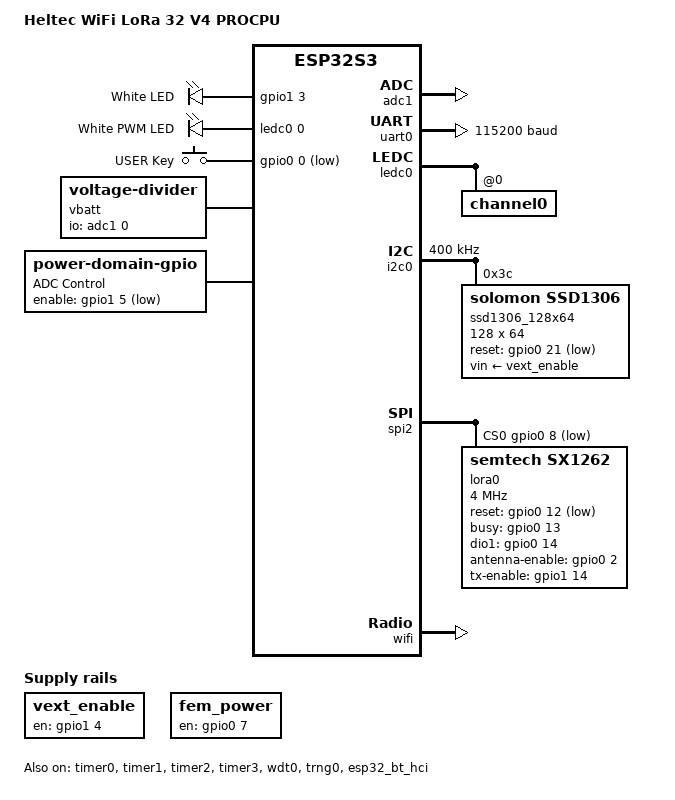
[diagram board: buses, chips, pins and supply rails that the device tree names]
/*
 * SPDX-License-Identifier: Apache-2.0
 * Heltec WiFi LoRa 32 V4 — ZephCore procpu DTS
 *
 * Hardware:
 *   MCU:    ESP32-S3 (16 MB flash, 2 MB QSPI PSRAM)
 *   Radio:  SX1262 on SPI2, GC1109 external PA/FEM (V4.2)
 *   OLED:   SSD1306 128x64 on I2C0
 *   Button: GPIO0
 *   LED:    GPIO35 (PWM via LEDC0)
 *   Vext:   GPIO36 active-HIGH (powers OLED and sensors)
 *   BatADC: GPIO1 (ADC1 ch0), enable GPIO37 active-LOW
 *
 * V4.2 (this file) — GC1109 PA, TX_EN on GPIO46.
 * V4.3 (KCT8103L PA, CTX on GPIO5) → see heltec_wifi_lora32_v43.
 *
 * Key V4 differences vs V3:
 *   - 16 MB flash + 2 MB QSPI PSRAM  (was 8 MB, no PSRAM)
 *   - External PA/FEM (GC1109):
 *       GPIO7  = VFEM_Ctrl LDO power (active-HIGH, always-on)
 *       GPIO2  = GC1109 CSD (chip enable, active-HIGH)
 *       GPIO46 = GC1109 CPS (TX mode select, active-HIGH)
 *   - Vext control is active-HIGH    (was active-LOW on V3)
 *   - DIO2 used as RF switch alongside external FEM TX control
 *
 * LoRa SPI2:  SCLK=9, MOSI=10, MISO=11, NSS=8
 * LoRa ctrl:  DIO1=14, BUSY=13, RESET=12
 * FEM:        POWER=7, CSD=2, CPS=46
 * Display I2C0: SDA=17, SCL=18, RST=21
 */

/dts-v1/;

#include <espressif/esp32s3/esp32s3_wroom_n16r2.dtsi>
#include "heltec_wifi_lora32_v4-pinctrl.dtsi"
#include <zephyr/dt-bindings/pwm/pwm.h>
#include <zephyr/dt-bindings/input/input-event-codes.h>
#include <zephyr/dt-bindings/lora/sx126x.h>
#include <espressif/partitions_0x0_amp_16M.dtsi>

/ {
	model = "Heltec WiFi LoRa 32 V4 PROCPU";
	compatible = "heltec,wifi-lora32-v4";

	aliases {
		led0 = &led0;
		pwm-0 = &ledc0;
		pwm-led0 = &pwm_led_white;
		uart-0 = &uart0;
		i2c-0 = &i2c0;
		lora0 = &lora0;
		sw0 = &button0;
		watchdog0 = &wdt0;
	};

	leds {
		compatible = "gpio-leds";
		led0: led {
			gpios = <&gpio1 3 GPIO_ACTIVE_HIGH>;  /* GPIO35 = gpio1 pin 3 */
			label = "White LED";
		};
	};

	pwmleds {
		compatible = "pwm-leds";
		pwm_led_white: pwm_led_gpio35 {
			label = "White PWM LED";
			pwms = <&ledc0 0 PWM_MSEC(10) PWM_POLARITY_NORMAL>;
		};
	};

	buttons: buttons {
		compatible = "gpio-keys";
		button0: button_0 {
			gpios = <&gpio0 0 (GPIO_PULL_UP | GPIO_ACTIVE_LOW)>;
			label = "USER Key";
			zephyr,code = <INPUT_KEY_0>;
		};
	};

	vbatt {
		compatible = "voltage-divider";
		io-channels = <&adc1 0>;  /* GPIO1 = ADC1 ch0 */
		output-ohms = <100000>;
		full-ohms = <(100000 + 390000)>;
	};

	/* Vext — powers OLED and external peripherals (active-HIGH on GPIO36).
	 * regulator-fixed + SSD1306 vin-supply: powers rail at boot without relying on
	 * power-domains (CONFIG_PM_DEVICE is disabled in prj.conf). */
	vext_enable: vext-enable {
		compatible = "regulator-fixed";
		regulator-name = "vext";
		enable-gpios = <&gpio1 4 GPIO_ACTIVE_HIGH>;  /* GPIO36 = gpio1 pin 4 */
		regulator-boot-on;
		regulator-always-on;
	};

	/* ADC enable — GPIO37 (gpio1 pin 5) must be driven HIGH to read battery.
	 * ZephCore uses the vbat_enable regulator alias for this. */
	adc_ctrl: adc_ctrl {
		compatible = "power-domain-gpio";
		enable-gpios = <&gpio1 5 GPIO_ACTIVE_LOW>;   /* GPIO37 = gpio1 pin 5, active-LOW */
		#power-domain-cells = <0>;
		label = "ADC Control";
	};

	/* FEM LDO power supply — GPIO7 powers the GC1109/KCT8103L LDO.
	 * Must be HIGH before any radio operation. Keep always-on. */
	fem_power: fem-power {
		compatible = "regulator-fixed";
		regulator-name = "fem-power";
		enable-gpios = <&gpio0 7 GPIO_ACTIVE_HIGH>;  /* VFEM_Ctrl = GPIO7 */
		regulator-boot-on;
		regulator-always-on;
	};

	chosen {
		zephyr,sram = &sram1;
		zephyr,console = &uart0;
		zephyr,shell-uart = &uart0;
		zephyr,flash = &flash0;
		zephyr,code-partition = &slot0_partition;
		zephyr,bt-hci = &esp32_bt_hci;
		zephyr,display = &ssd1306_128x64;
	};
};

&adc1 {
	status = "okay";
};

&uart0 {
	status = "okay";
	current-speed = <115200>;
	pinctrl-0 = <&uart0_default>;
	pinctrl-names = "default";
};

&gpio0 {
	status = "okay";
};

&gpio1 {
	status = "okay";
};

/* Reduce CPU clock from 240 MHz to 160 MHz — saves power, HAL minimum */
&cpu0 {
	clock-frequency = <DT_FREQ_M(160)>;
};

&cpu1 {
	clock-frequency = <DT_FREQ_M(160)>;
};

&ledc0 {
	pinctrl-0 = <&ledc0_default>;
	pinctrl-names = "default";
	status = "okay";
	#address-cells = <1>;
	#size-cells = <0>;

	channel0@0 {
		reg = <0x0>;
		timer = <0>;
	};
};

&i2c0 {
	status = "okay";
	clock-frequency = <I2C_BITRATE_FAST>;
	pinctrl-0 = <&i2c0_default>;
	pinctrl-names = "default";

	ssd1306_128x64: display-controller@3c {
		compatible = "solomon,ssd1306";
		reg = <0x3c>;
		width = <128>;
		height = <64>;
		segment-offset = <0>;
		page-offset = <0>;
		display-offset = <0>;
		multiplex-ratio = <63>;
		segment-remap;
		com-invdir;
		inversion-on;
		prechargep = <0x22>;
		reset-gpios = <&gpio0 21 GPIO_ACTIVE_LOW>;   /* RST_OLED = GPIO21 */
		vin-supply = <&vext_enable>;
	};
};

&spi2 {
	#address-cells = <1>;
	#size-cells = <0>;
	status = "okay";
	pinctrl-0 = <&spim2_default>;
	pinctrl-names = "default";

	cs-gpios = <&gpio0 8 GPIO_ACTIVE_LOW>;  /* NSS = GPIO8 */

	lora0: modem@0 {
		compatible = "semtech,sx1262";
		reg = <0>;
		reset-gpios   = <&gpio0 12 (GPIO_OPEN_DRAIN | GPIO_ACTIVE_LOW)>;  /* RESET = GPIO12 */
		busy-gpios    = <&gpio0 13 GPIO_ACTIVE_HIGH>;                      /* BUSY  = GPIO13 */
		dio1-gpios    = <&gpio0 14 GPIO_ACTIVE_HIGH>;                      /* DIO1  = GPIO14 */

		/* External PA/FEM control (GC1109, V4.2):
		 *   GPIO2  = CSD (chip select/enable): driven HIGH during radio, LOW in sleep
		 *   GPIO46 = CPS (TX select): HIGH during TX, LOW during RX
		 * V4.3 (KCT8103L) uses GPIO5 instead of GPIO46 — see heltec_wifi_lora32_v43. */
		antenna-enable-gpios = <&gpio0 2 GPIO_ACTIVE_HIGH>;        /* GC1109 CSD = GPIO2  */
		tx-enable-gpios      = <&gpio1 14 GPIO_ACTIVE_HIGH>;       /* GC1109 CPS = GPIO46 = gpio1 pin 14 */

		/* DIO2 drives the SX1262 internal RF switch (TX path select).
		 * Combined with tx-enable-gpios, this keeps both the internal and
		 * external PA switch in sync with no software intervention needed. */
		dio2-tx-enable;

		/* TCXO 1.8V via DIO3 — same as V3 */
		dio3-tcxo-voltage = <SX126X_DIO3_TCXO_1V8>;
		tcxo-power-startup-delay-ms = <5>;

		spi-max-frequency = <4000000>;
	};
};

&timer0 { status = "okay"; };
&timer1 { status = "okay"; };
&timer2 { status = "okay"; };
&timer3 { status = "okay"; };

&wdt0 { status = "okay"; };
&trng0 { status = "okay"; };

&esp32_bt_hci { status = "okay"; };
&wifi { status = "okay"; };
